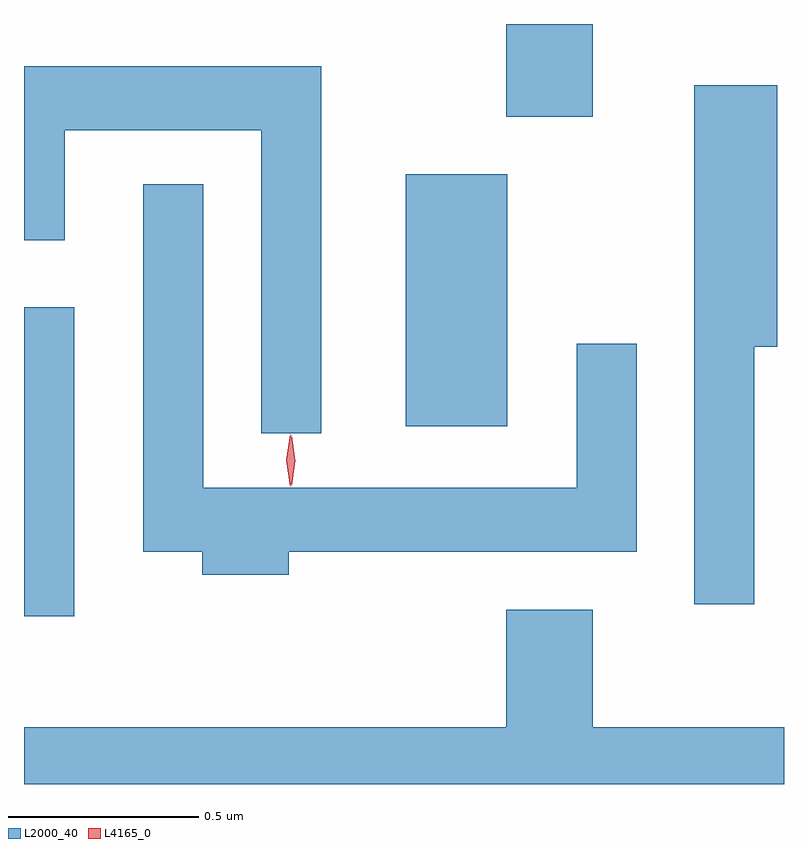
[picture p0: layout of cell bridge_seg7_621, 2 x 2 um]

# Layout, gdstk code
import gdstk
lib = gdstk.Library(unit=1e-6, precision=1e-09)
def R(c, l, rs):  # rectangles x0, y0, x1, y1
    for r in rs: c.add(gdstk.rectangle(r[:2], r[2:], *l))
def P(c, l, *ps):  # polygons
    for p in ps: c.add(gdstk.Polygon(p, *l))
L2000_40 = (2000, 40)
L4165_0 = (4165, 0)

bridge_seg7_621 = lib.new_cell('bridge_seg7_621')
R(bridge_seg7_621, L2000_40, [(658.252,1792.576,658.384,1793.389), (659.256,1793.076,659.524,1793.739), (659.521,1793.891,659.749,1794.135)])
P(bridge_seg7_621, L2000_40, [(659.034,1794.024),(658.252,1794.024),(658.252,1793.566),(658.359,1793.566),(658.359,1793.856),(658.876,1793.856),(658.876,1793.058),(659.034,1793.058)],
  [(660.174,1793.286),(660.234,1793.286),(660.234,1793.974),(660.016,1793.974),(660.016,1792.608),(660.174,1792.608)],
  [(658.949,1792.746),(659.864,1792.746),(659.864,1793.293),(659.706,1793.293),(659.706,1792.914),(658.724,1792.914),(658.724,1793.713),(658.566,1793.713),(658.566,1792.746),(658.721,1792.746),(658.721,1792.686),(658.949,1792.686)],
  [(660.252,1792.284),(659.749,1792.284),(659.749,1792.594),(659.521,1792.594),(659.521,1792.284),(658.252,1792.284),(658.252,1792.135),(660.252,1792.135)])
P(bridge_seg7_621, L4165_0, [(658.956,1792.919),(658.956,1792.92),(658.946,1792.986),(658.956,1793.052),(658.956,1793.053),(658.956,1793.052),(658.966,1792.986),(658.956,1792.92)],
  [(658.952,1792.917),(658.952,1792.917),(658.942,1792.987),(658.952,1793.056),(658.952,1793.056),(658.953,1793.056),(658.962,1792.987),(658.953,1792.917)])

lib.write_gds('bridge_seg7_621.gds')
